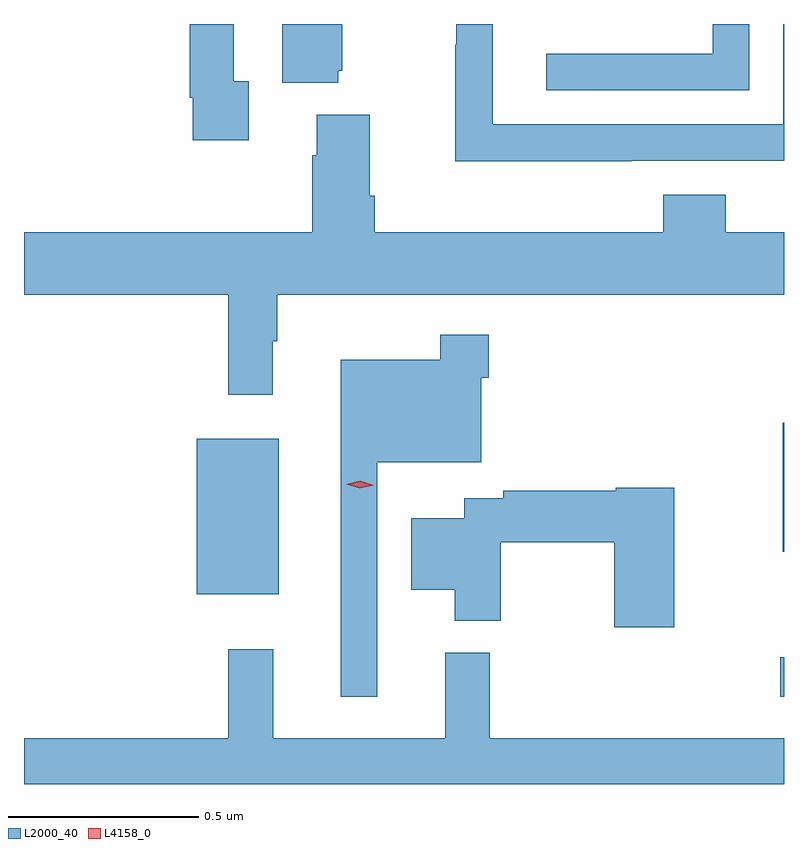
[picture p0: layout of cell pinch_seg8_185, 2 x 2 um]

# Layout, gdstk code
import gdstk
lib = gdstk.Library(unit=1e-6, precision=1e-09)
def R(c, l, rs):  # rectangles x0, y0, x1, y1
    for r in rs: c.add(gdstk.rectangle(r[:2], r[2:], *l))
def P(c, l, *ps):  # polygons
    for p in ps: c.add(gdstk.Polygon(p, *l))
L2000_40 = (2000, 40)
L4158_0 = (4158, 0)

pinch_seg8_185 = lib.new_cell('pinch_seg8_185')
R(pinch_seg8_185, L2000_40, [(699.247,1136.754,699.257,1136.857), (697.712,1137.023,697.927,1137.433), (699.254,1137.135,699.257,1137.475)])
P(pinch_seg8_185, L2000_40, [(698.855,1138.164),(699.257,1138.164),(699.257,1138.524),(699.255,1138.524),(699.255,1138.26),(698.49,1138.26),(698.49,1138.524),(698.394,1138.524),(698.394,1138.469),(698.392,1138.469),(698.392,1138.163),(698.855,1138.163)],
  [(698.084,1138.401),(698.095,1138.401),(698.095,1138.524),(697.937,1138.524),(697.937,1138.37),(698.084,1138.37)],
  [(697.849,1138.374),(697.809,1138.374),(697.809,1138.524),(697.693,1138.524),(697.693,1138.33),(697.701,1138.33),(697.701,1138.218),(697.849,1138.218)],
  [(699.165,1138.524),(699.069,1138.524),(699.069,1138.446),(698.631,1138.446),(698.631,1138.35),(699.165,1138.35)],
  [(699.257,1137.976),(699.104,1137.976),(699.104,1138.075),(698.939,1138.075),(698.939,1137.976),(698.18,1137.976),(698.18,1138.072),(698.167,1138.072),(698.167,1138.285),(698.027,1138.285),(698.027,1138.178),(698.015,1138.178),(698.015,1137.976),(697.257,1137.976),(697.257,1137.812),(697.795,1137.812),(697.795,1137.549),(697.912,1137.549),(697.912,1137.689),(697.924,1137.689),(697.924,1137.812),(699.257,1137.812)],
  [(698.187,1137.371),(698.46,1137.371),(698.46,1137.593),(698.48,1137.593),(698.48,1137.706),(698.352,1137.706),(698.352,1137.64),(698.09,1137.64),(698.09,1136.754),(698.187,1136.754)],
  [(698.968,1137.304),(698.814,1137.304),(698.814,1137.296),(698.518,1137.296),(698.518,1137.276),(698.415,1137.276),(698.415,1137.223),(698.276,1137.223),(698.276,1137.035),(698.39,1137.035),(698.39,1136.954),(698.512,1136.954),(698.512,1137.16),(698.81,1137.16),(698.81,1136.937),(698.968,1136.937)],
  [(699.257,1136.644),(698.483,1136.644),(698.483,1136.869),(698.366,1136.869),(698.366,1136.644),(697.913,1136.644),(697.913,1136.878),(697.795,1136.878),(697.795,1136.644),(697.257,1136.644),(697.257,1136.524),(699.257,1136.524)])
P(pinch_seg8_185, L4158_0, [(698.141,1137.302),(698.105,1137.313),(698.105,1137.313),(698.105,1137.313),(698.142,1137.322),(698.177,1137.31),(698.177,1137.31),(698.177,1137.31)])

lib.write_gds('pinch_seg8_185.gds')
